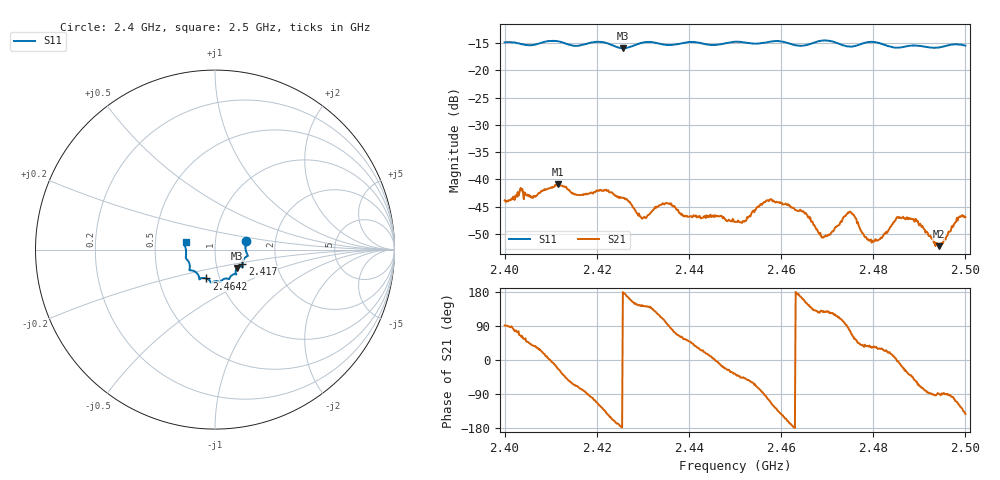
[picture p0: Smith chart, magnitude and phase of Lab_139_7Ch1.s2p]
# Hz S RI R 50
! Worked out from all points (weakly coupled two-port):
!   601 points, 2.4 GHz to 2.5 GHz, reference 50 ohm
!   highest |S21| = -40.95 dB at 2.4115 GHz (marker M1); lowest = -52.3 dB at 2.4942 GHz (marker M2)
!   lowest |S11| = -15.9 dB at 2.4257 GHz (marker M3), VSWR 1.38, Z = 62.4 - j13.1 ohm
!   |S11| at or under -10 dB: start of sweep to end of sweep
!   S12 and S22 are empty: the file has one direction only
!   S11 on the Smith chart (normalised r, x): 2.4 GHz: 1.41, +0.14; 2.417 GHz: 1.34, -0.22; 2.4642 GHz: 0.86, -0.29; 2.5 GHz: 0.72, +0.06
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2.4e9  0.1738 0.0494  -0.000137 0.00642  0 0  0 0
2.4115e9  0.1818 -0.0356  0.0083 -0.00339  0 0  0 0
2.416667e9  0.1529 -0.0747  0.00161 -0.00701  0 0  0 0
2.417e9  0.1523 -0.0787  0.00126 -0.00706  0 0  0 0
2.422e9  0.1516 -0.0946  -0.00599 -0.00533  0 0  0 0
2.425667e9  0.1223 -0.1026  -0.0068 8.45e-05  0 0  0 0
2.430167e9  0.1179 -0.1368  -0.00358 0.0027  0 0  0 0
2.433333e9  0.1125 -0.1366  -0.00284 0.00484  0 0  0 0
2.45e9  0.0293 -0.1808  0.00327 -0.00241  0 0  0 0
2.452e9  0.0228 -0.179  0.00271 -0.00306  0 0  0 0
2.457333e9  -0.0152 -0.1817  -0.00164 -0.00608  0 0  0 0
2.464167e9  -0.0483 -0.161  -0.00515 0.00113  0 0  0 0
2.466667e9  -0.0764 -0.1594  -0.00293 0.00288  0 0  0 0
2.469333e9  -0.0874 -0.1665  -0.00174 0.00239  0 0  0 0
2.474833e9  -0.1049 -0.1278  0.00103 0.00492  0 0  0 0
2.479167e9  -0.1413 -0.1152  0.00214 0.00168  0 0  0 0
2.483333e9  -0.1404 -0.0895  0.00325 0.00113  0 0  0 0
2.485333e9  -0.1461 -0.0687  0.0045 -0.000204  0 0  0 0
2.488167e9  -0.161 -0.0502  0.00331 -0.00277  0 0  0 0
2.494167e9  -0.162 0.000653  5.97e-05 -0.00243  0 0  0 0
2.498667e9  -0.1695 0.0346  -0.00218 -0.00393  0 0  0 0
2.5e9  -0.1634 0.0417  -0.00357 -0.00276  0 0  0 0
